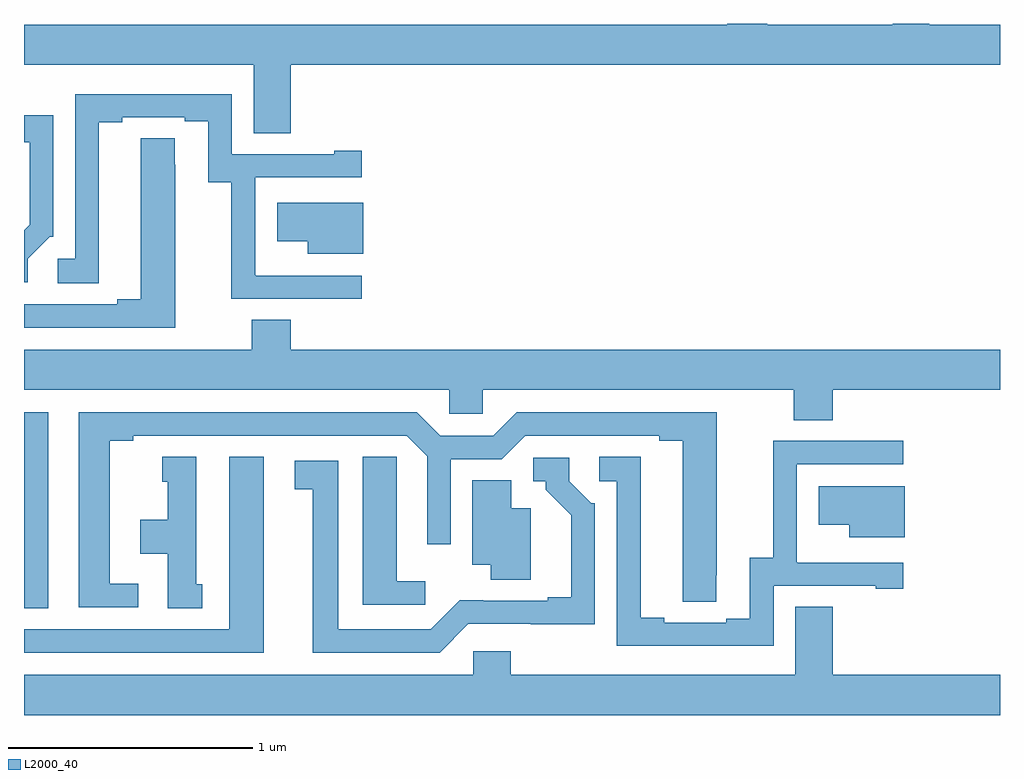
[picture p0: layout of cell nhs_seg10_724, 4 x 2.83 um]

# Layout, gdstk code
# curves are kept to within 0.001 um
import gdstk
lib = gdstk.Library(unit=1e-6, precision=1e-09)
def R(c, l, rs):  # rectangles x0, y0, x1, y1
    for r in rs: c.add(gdstk.rectangle(r[:2], r[2:], *l))
def P(c, l, *ps):  # polygons
    for p in ps: c.add(gdstk.Polygon(p, *l))
L2000_40 = (2000, 40)

nhs_seg10_724 = lib.new_cell('nhs_seg10_724')
R(nhs_seg10_724, L2000_40, [(147,1282.105,147.1,1282.908)])
P(nhs_seg10_724, L2000_40, [(148.094,1284.332),(151,1284.332),(151,1284.496),(150.711,1284.496),(150.711,1284.5),(150.56,1284.5),(150.56,1284.496),(150.047,1284.496),(150.047,1284.5),(149.882,1284.5),(149.882,1284.496),(147,1284.496),(147,1284.332),(147.941,1284.332),(147.941,1284.052),(148.094,1284.052)],
  [(148.384,1283.469),(147.95,1283.469),(147.95,1283.47),(147.948,1283.47),(147.948,1283.871),(148.384,1283.871),(148.384,1283.98),(148.271,1283.98),(148.271,1283.967),(147.852,1283.967),(147.852,1284.213),(147.21,1284.213),(147.21,1283.538),(147.138,1283.538),(147.138,1283.437),(147.307,1283.437),(147.307,1284.097),(147.403,1284.097),(147.403,1284.117),(147.659,1284.117),(147.659,1284.102),(147.755,1284.102),(147.755,1283.851),(147.85,1283.851),(147.85,1283.373),(148.384,1283.373)],
  [(147.015,1283.538),(147.105,1283.628),(147.12,1283.628),(147.12,1284.125),(147,1284.125),(147,1284.015),(147.023,1284.015),(147.023,1283.678),(147,1283.655),(147,1283.442),(147.015,1283.442)],
  [(147.619,1283.924),(147.618,1283.924),(147.618,1284.032),(147.479,1284.032),(147.479,1283.372),(147.383,1283.372),(147.383,1283.352),(147,1283.352),(147,1283.256),(147.619,1283.256)],
  [(148.39,1283.767),(148.038,1283.767),(148.038,1283.609),(148.163,1283.609),(148.163,1283.558),(148.39,1283.558)],
  [(150.314,1283),(151,1283),(151,1283.164),(148.094,1283.164),(148.094,1283.288),(147.934,1283.288),(147.934,1283.164),(147,1283.164),(147,1283),(148.743,1283),(148.743,1282.902),(148.881,1282.902),(148.881,1283),(150.154,1283),(150.154,1282.876),(150.314,1282.876)],
  [(147.469,1282.206),(147.352,1282.206),(147.352,1282.792),(147.448,1282.792),(147.448,1282.812),(148.569,1282.812),(148.653,1282.728),(148.653,1282.368),(148.749,1282.368),(148.749,1282.716),(148.959,1282.716),(149.055,1282.812),(149.603,1282.812),(149.603,1282.792),(149.699,1282.792),(149.699,1282.132),(149.838,1282.132),(149.839,1282.908),(149.019,1282.908),(148.923,1282.812),(148.705,1282.812),(148.609,1282.908),(147.224,1282.908),(147.224,1282.11),(147.469,1282.11)],
  [(150.072,1282.197),(150.491,1282.197),(150.491,1282.185),(150.604,1282.185),(150.604,1282.293),(150.17,1282.293),(150.17,1282.294),(150.168,1282.294),(150.168,1282.695),(150.604,1282.695),(150.604,1282.791),(150.07,1282.791),(150.07,1282.313),(149.975,1282.313),(149.975,1282.062),(149.879,1282.062),(149.879,1282.047),(149.623,1282.047),(149.623,1282.067),(149.527,1282.067),(149.527,1282.727),(149.358,1282.727),(149.358,1282.626),(149.43,1282.626),(149.43,1281.951),(150.072,1281.951)],
  [(148.645,1282.216),(148.528,1282.216),(148.528,1282.619),(148.527,1282.619),(148.527,1282.727),(148.388,1282.727),(148.388,1282.119),(148.645,1282.119)],
  [(147.73,1282.203),(147.706,1282.203),(147.706,1282.726),(147.566,1282.726),(147.566,1282.623),(147.59,1282.623),(147.59,1282.468),(147.476,1282.468),(147.476,1282.328),(147.59,1282.328),(147.59,1282.105),(147.73,1282.105)],
  [(147.982,1282.726),(147.842,1282.726),(147.842,1282.02),(147,1282.02),(147,1281.924),(147.982,1281.924)],
  [(148.821,1282.041),(149.34,1282.04),(149.34,1282.536),(149.325,1282.536),(149.235,1282.626),(149.235,1282.722),(149.088,1282.722),(149.088,1282.626),(149.138,1282.626),(149.138,1282.591),(149.243,1282.486),(149.243,1282.15),(149.147,1282.15),(149.147,1282.137),(148.786,1282.138),(148.668,1282.02),(148.288,1282.02),(148.288,1282.71),(148.11,1282.71),(148.11,1282.594),(148.184,1282.594),(148.184,1281.924),(148.704,1281.924)],
  [(149.077,1282.516),(148.996,1282.516),(148.996,1282.631),(148.838,1282.631),(148.838,1282.283),(148.913,1282.283),(148.913,1282.222),(149.077,1282.222)],
  [(150.61,1282.606),(150.258,1282.606),(150.258,1282.448),(150.383,1282.448),(150.383,1282.397),(150.61,1282.397)],
  [(151,1281.832),(150.314,1281.832),(150.314,1282.112),(150.161,1282.112),(150.161,1281.832),(148.994,1281.832),(148.994,1281.93),(148.842,1281.93),(148.842,1281.832),(147,1281.832),(147,1281.668),(151,1281.668)])

lib.write_gds('nhs_seg10_724.gds')
